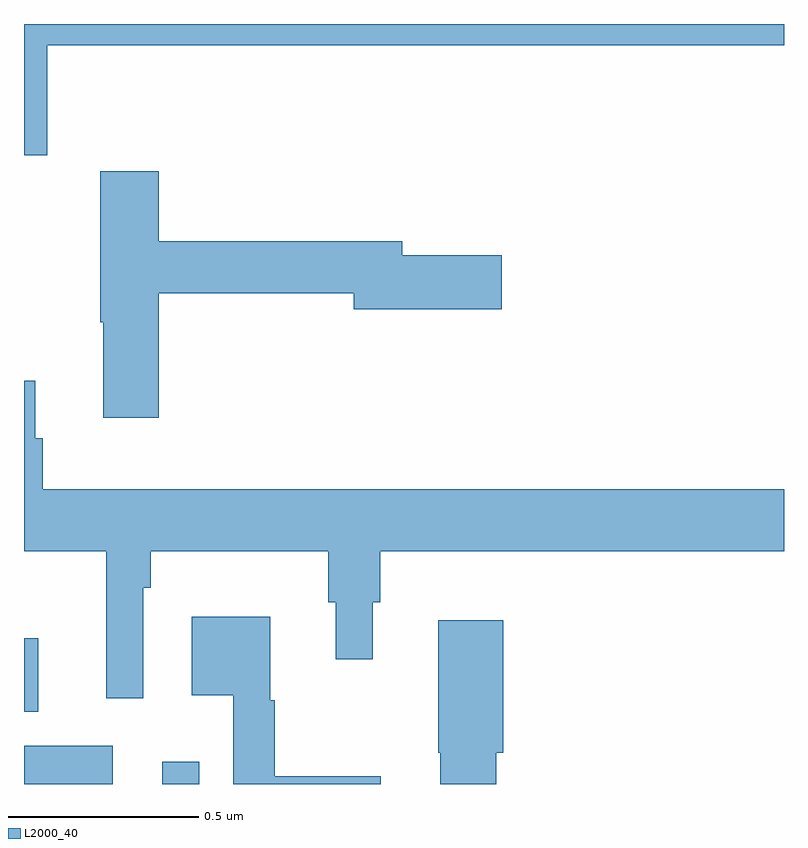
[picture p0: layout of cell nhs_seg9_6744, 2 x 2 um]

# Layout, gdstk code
import gdstk
lib = gdstk.Library(unit=1e-6, precision=1e-09)
def R(c, l, rs):  # rectangles x0, y0, x1, y1
    for r in rs: c.add(gdstk.rectangle(r[:2], r[2:], *l))
def P(c, l, *ps):  # polygons
    for p in ps: c.add(gdstk.Polygon(p, *l))
L2000_40 = (2000, 40)

nhs_seg9_6744 = lib.new_cell('nhs_seg9_6744')
R(nhs_seg9_6744, L2000_40, [(196,1170.5,196.234,1170.601), (196.364,1170.5,196.461,1170.559), (196,1170.69,196.037,1170.883)])
P(nhs_seg9_6744, L2000_40, [(196.061,1172.444),(198,1172.444),(198,1172.5),(196,1172.5),(196,1172.154),(196.061,1172.154)],
  [(196.355,1171.792),(196.868,1171.792),(196.868,1171.75),(197.257,1171.75),(197.257,1171.892),(196.996,1171.892),(196.996,1171.928),(196.355,1171.928),(196.355,1172.113),(196.201,1172.113),(196.201,1171.715),(196.208,1171.715),(196.208,1171.464),(196.355,1171.464)],
  [(196.314,1171.016),(196.334,1171.016),(196.334,1171.112),(196.801,1171.112),(196.801,1170.978),(196.82,1170.978),(196.82,1170.828),(196.918,1170.828),(196.918,1170.978),(196.937,1170.978),(196.937,1171.112),(198,1171.112),(198,1171.276),(196.049,1171.276),(196.049,1171.41),(196.03,1171.41),(196.03,1171.561),(196,1171.561),(196,1171.112),(196.217,1171.112),(196.217,1170.726),(196.314,1170.726)],
  [(196.939,1170.521),(196.66,1170.521),(196.66,1170.72),(196.648,1170.72),(196.648,1170.94),(196.442,1170.94),(196.442,1170.734),(196.551,1170.734),(196.551,1170.5),(196.939,1170.5)],
  [(197.243,1170.582),(197.261,1170.582),(197.261,1170.931),(197.09,1170.931),(197.09,1170.582),(197.096,1170.582),(197.096,1170.5),(197.243,1170.5)])

lib.write_gds('nhs_seg9_6744.gds')
